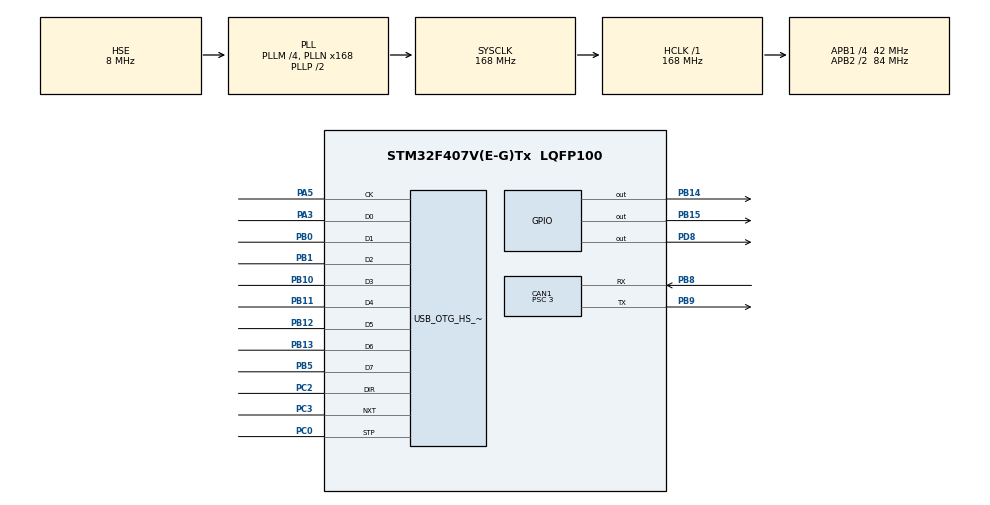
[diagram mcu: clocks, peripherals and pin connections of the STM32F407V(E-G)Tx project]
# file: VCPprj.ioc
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CAN1.ABOM=DISABLE
CAN1.AWUM=DISABLE
CAN1.BS1=CAN_BS1_9TQ
CAN1.BS2=CAN_BS2_4TQ
CAN1.CalculateTimeQuantum=71.42857142857143
CAN1.Prescaler=3
Mcu.Family=STM32F4
Mcu.Name=STM32F407V(E-G)Tx
Mcu.Package=LQFP100
NVIC.CAN1_RX0_IRQn=true\:0\:0\:false\:false\:true\:true\:true
NVIC.CAN1_RX1_IRQn=true\:0\:0\:false\:false\:true\:true\:true
NVIC.OTG_HS_IRQn=true\:0\:0\:false\:false\:true\:false\:true
NVIC.PriorityGroup=NVIC_PRIORITYGROUP_4
PA13.Mode=Serial_Wire
PA13.Signal=SYS_JTMS-SWDIO
PA14.Mode=Serial_Wire
PA14.Signal=SYS_JTCK-SWCLK
PA3.Mode=Device_HS
PA3.Signal=USB_OTG_HS_ULPI_D0
PA5.Mode=Device_HS
PA5.Signal=USB_OTG_HS_ULPI_CK
PB0.Mode=Device_HS
PB0.Signal=USB_OTG_HS_ULPI_D1
PB1.Mode=Device_HS
PB1.Signal=USB_OTG_HS_ULPI_D2
PB10.Mode=Device_HS
PB10.Signal=USB_OTG_HS_ULPI_D3
PB11.Mode=Device_HS
PB11.Signal=USB_OTG_HS_ULPI_D4
PB12.Mode=Device_HS
PB12.Signal=USB_OTG_HS_ULPI_D5
PB13.Mode=Device_HS
PB13.Signal=USB_OTG_HS_ULPI_D6
PB14.Signal=GPIO_Output
PB15.Signal=GPIO_Output
PB5.Mode=Device_HS
PB5.Signal=USB_OTG_HS_ULPI_D7
PB8.Mode=Master
PB8.Signal=CAN1_RX
PB9.Mode=Master
PB9.Signal=CAN1_TX
PC0.Mode=Device_HS
PC0.Signal=USB_OTG_HS_ULPI_STP
PC2.Mode=Device_HS
PC2.Signal=USB_OTG_HS_ULPI_DIR
PC3.Mode=Device_HS
PC3.Signal=USB_OTG_HS_ULPI_NXT
PD8.Signal=GPIO_Output
PH0-OSC_IN.Mode=HSE-External-Oscillator
PH0-OSC_IN.Signal=RCC_OSC_IN
PH1-OSC_OUT.Mode=HSE-External-Oscillator
PH1-OSC_OUT.Signal=RCC_OSC_OUT
ProjectManager.HeapSize=0x400
ProjectManager.StackSize=0x400
ProjectManager.TargetToolchain=MDK-ARM V5.27
RCC.48MHZClocksFreq_Value=84000000
RCC.AHBFreq_Value=168000000
RCC.APB1CLKDivider=RCC_HCLK_DIV4
RCC.APB1Freq_Value=42000000
RCC.APB1TimFreq_Value=84000000
RCC.APB2CLKDivider=RCC_HCLK_DIV2
RCC.APB2Freq_Value=84000000
RCC.APB2TimFreq_Value=168000000
RCC.CortexFreq_Value=168000000
RCC.HCLKFreq_Value=168000000
RCC.HSE_VALUE=8000000
RCC.HSI_VALUE=16000000
RCC.LSE_VALUE=32768
RCC.PLLM=4
RCC.PLLN=168
RCC.PLLSourceVirtual=RCC_PLLSOURCE_HSE
RCC.SYSCLKFreq_VALUE=168000000
RCC.SYSCLKSource=RCC_SYSCLKSOURCE_PLLCLK
RCC.VCOOutputFreq_Value=336000000
USB_DEVICE.CLASS_NAME_HS=CDC
USB_DEVICE.VirtualMode-CDC_HS=Cdc
USB_DEVICE.VirtualModeHS=Cdc_HS
USB_OTG_HS.VirtualMode-Device_HS=Device_HS
VP_USB_DEVICE_VS_USB_DEVICE_CDC_HS.Mode=CDC_HS
board=custom

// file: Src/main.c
/* USER CODE BEGIN Header */
/**
  ******************************************************************************
  * @file           : main.c
  * @brief          : Main program body
  ******************************************************************************
  * @attention
  *
  * <h2><center>&copy; Copyright (c) 2020 STMicroelectronics.
  * All rights reserved.</center></h2>
  *
  * This software component is licensed by ST under Ultimate Liberty license
  * SLA0044, the "License"; You may not use this file except in compliance with
  * the License. You may obtain a copy of the License at:
  *                             www.st.com/SLA0044
  *
  ******************************************************************************
  */
  /*@todo:
   *是否尝试使用同步USB传输，这样免去握手等bulk传输需要的步骤，可以增加实时性。
   *EP_TYPE_ISOC，好像是audio类型usb设别可以使用同步传输？？
  */
/* USER CODE END Header */

#include "main.h"
#include "can.h"
#include "usb_device.h"
#include "gpio.h"

/* USER CODE BEGIN Includes */
#include "usbd_cdc_if.h"
#include "BusAdoptor32.h"
#include "vesc.h"
/* USER CODE END Includes */

void SystemClock_Config(void);
/* USER CODE BEGIN PFP */
#define toggle       HAL_GPIO_TogglePin(GPIOB,GPIO_PIN_14); HAL_GPIO_TogglePin(GPIOB,GPIO_PIN_15); HAL_GPIO_TogglePin(GPIOD,GPIO_PIN_8)
/* USER CODE END PFP */

int main(void)
{

  /* MCU Configuration--------------------------------------------------------*/

  /* Reset of all peripherals, Initializes the Flash interface and the Systick. */
  HAL_Init();

  /* Configure the system clock */
  SystemClock_Config();

  /* Initialize all configured peripherals */
  MX_GPIO_Init();
  MX_USB_DEVICE_Init();
  MX_CAN1_Init();
  /* USER CODE BEGIN 2 */
  CAN_FilterTypeDef  sFilterConfig;
  sFilterConfig.FilterBank = 0;
  sFilterConfig.FilterMode = CAN_FILTERMODE_IDMASK;
  sFilterConfig.FilterScale = CAN_FILTERSCALE_32BIT;
  sFilterConfig.FilterIdHigh = 0x0000;
  sFilterConfig.FilterIdLow = 0x0000;
  sFilterConfig.FilterMaskIdHigh = 0x0000;
  sFilterConfig.FilterMaskIdLow = 0x0000;
  sFilterConfig.FilterFIFOAssignment = CAN_RX_FIFO0;
  sFilterConfig.FilterActivation = ENABLE;
  sFilterConfig.SlaveStartFilterBank = 14;

  if(HAL_CAN_ConfigFilter(&hcan1, &sFilterConfig) != HAL_OK)
    Error_Handler();
  if (HAL_CAN_Start(&hcan1) != HAL_OK)
    Error_Handler();
  if (HAL_CAN_ActivateNotification(&hcan1, CAN_IT_RX_FIFO0_MSG_PENDING) != HAL_OK)
    Error_Handler();
  if (HAL_CAN_ActivateNotification(&hcan1, CAN_IT_RX_FIFO1_MSG_PENDING) != HAL_OK)
    Error_Handler();

  /* USER CODE END 2 */

  /* Infinite loop */
  /* USER CODE BEGIN WHILE */

  while (1)
  {
    //已读取Buf不等于带接受Buf表示读取完毕,处理读取完毕的�??
    if(curRxIdx_OK!=curRxIdx_Wait)
    {
      toggle;
      //译码处理
      BA_Decoding(UserRxPingPong[curRxIdx_OK]);

      //译码结束，切换buff
      curRxIdx_OK= (curRxIdx_OK+1)&0x01;
    }

    //发�?�完毕BUF与等待发送BUF不等，表示有等待发�?�的�?
    if(curTxIdx_Wait!=curTxIdx_OK)
    {
      HAL_GPIO_TogglePin(GPIOB,GPIO_PIN_14);
      HAL_GPIO_TogglePin(GPIOB,GPIO_PIN_15);
      while(CDC_Transmit_HS((uint8_t *)pmsg,pmsg->DLC) != USBD_OK);
      curRxIdx_OK = curTxIdx_Wait;
    }
//    VESC_t vesc;
//    vesc.controller_id=0x00;
//    vesc.hcann=&hcan1;
//    VESC_CAN_SET_ERPM(&vesc,1000);
//    HAL_Delay(1);
    /* USER CODE END WHILE */

  }
}

void SystemClock_Config(void)
{
  RCC_OscInitTypeDef RCC_OscInitStruct = {0};
  RCC_ClkInitTypeDef RCC_ClkInitStruct = {0};

  /** Configure the main internal regulator output voltage
  */
  __HAL_RCC_PWR_CLK_ENABLE();
  __HAL_PWR_VOLTAGESCALING_CONFIG(PWR_REGULATOR_VOLTAGE_SCALE1);
  /** Initializes the CPU, AHB and APB busses clocks
  */
  RCC_OscInitStruct.OscillatorType = RCC_OSCILLATORTYPE_HSE;
  RCC_OscInitStruct.HSEState = RCC_HSE_ON;
  RCC_OscInitStruct.PLL.PLLState = RCC_PLL_ON;
  RCC_OscInitStruct.PLL.PLLSource = RCC_PLLSOURCE_HSE;
  RCC_OscInitStruct.PLL.PLLM = 4;
  RCC_OscInitStruct.PLL.PLLN = 168;
  RCC_OscInitStruct.PLL.PLLP = RCC_PLLP_DIV2;
  RCC_OscInitStruct.PLL.PLLQ = 4;
  if (HAL_RCC_OscConfig(&RCC_OscInitStruct) != HAL_OK)
  {
    Error_Handler();
  }
  /** Initializes the CPU, AHB and APB busses clocks
  */
  RCC_ClkInitStruct.ClockType = RCC_CLOCKTYPE_HCLK|RCC_CLOCKTYPE_SYSCLK
                              |RCC_CLOCKTYPE_PCLK1|RCC_CLOCKTYPE_PCLK2;
  RCC_ClkInitStruct.SYSCLKSource = RCC_SYSCLKSOURCE_PLLCLK;
  RCC_ClkInitStruct.AHBCLKDivider = RCC_SYSCLK_DIV1;
  RCC_ClkInitStruct.APB1CLKDivider = RCC_HCLK_DIV4;
  RCC_ClkInitStruct.APB2CLKDivider = RCC_HCLK_DIV2;

  if (HAL_RCC_ClockConfig(&RCC_ClkInitStruct, FLASH_LATENCY_5) != HAL_OK)
  {
    Error_Handler();
  }
}

void Error_Handler(void)
{
  /* USER CODE BEGIN Error_Handler_Debug */
  /* User can add his own implementation to report the HAL error return state */
//  while(1)
//  {
//    ;
//  }
  /* USER CODE END Error_Handler_Debug */
}

/************************ (C) COPYRIGHT STMicroelectronics *****END OF FILE****/
